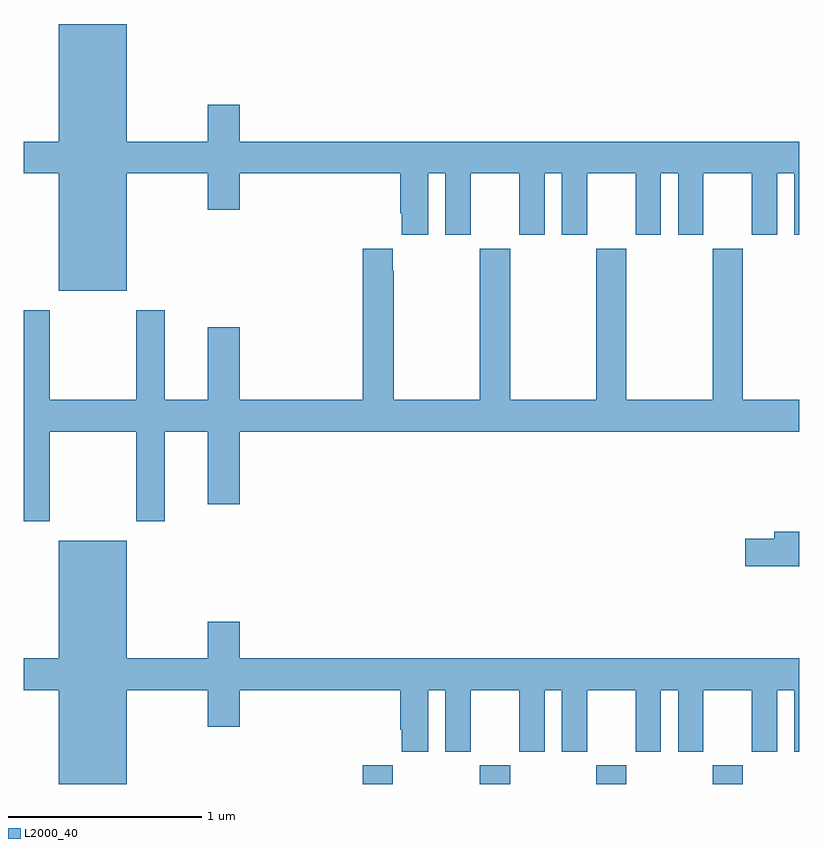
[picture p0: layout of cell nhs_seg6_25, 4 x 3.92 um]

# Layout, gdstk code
import gdstk
lib = gdstk.Library(unit=1e-6, precision=1e-09)
def R(c, l, rs):  # rectangles x0, y0, x1, y1
    for r in rs: c.add(gdstk.rectangle(r[:2], r[2:], *l))
def A(c, l, x, y, w, h, nx, ny, dx, dy):  # array of equal rectangles
    R(c, l, [(x+i*dx, y+j*dy, x+i*dx+w, y+j*dy+h) for i in range(nx) for j in range(ny)])
def P(c, l, *ps):  # polygons
    for p in ps: c.add(gdstk.Polygon(p, *l))
L2000_40 = (2000, 40)

nhs_seg6_25 = lib.new_cell('nhs_seg6_25')
A(nhs_seg6_25, L2000_40, 113.353, 965.5, 0.155, 0.096, 3, 1, 0.6, 0)
R(nhs_seg6_25, L2000_40, [(112.748,965.5,112.903,965.596)])
P(nhs_seg6_25, L2000_40, [(111.532,968.648),(111.95,968.648),(111.95,968.46),(112.114,968.46),(112.114,968.648),(112.943,968.648),(112.943,968.443),(112.949,968.443),(112.949,968.331),(113.086,968.331),(113.086,968.648),(113.174,968.648),(113.174,968.331),(113.305,968.331),(113.305,968.648),(113.555,968.648),(113.555,968.331),(113.686,968.331),(113.686,968.648),(113.774,968.648),(113.774,968.331),(113.905,968.331),(113.905,968.648),(114.155,968.648),(114.155,968.331),(114.286,968.331),(114.286,968.648),(114.374,968.648),(114.374,968.331),(114.505,968.331),(114.505,968.648),(114.755,968.648),(114.755,968.331),(114.886,968.331),(114.886,968.648),(114.974,968.648),(114.974,968.331),(115,968.331),(115,968.812),(112.114,968.812),(112.114,969.001),(111.95,969.001),(111.95,968.812),(111.532,968.812),(111.532,969.418),(111.182,969.418),(111.182,968.812),(111,968.812),(111,968.648),(111.182,968.648),(111.182,968.042),(111.532,968.042)],
  [(111.135,967.316),(111.58,967.316),(111.58,966.855),(111.727,966.855),(111.727,967.316),(111.95,967.316),(111.95,966.942),(112.114,966.942),(112.114,967.316),(115,967.316),(115,967.48),(114.708,967.48),(114.708,968.26),(114.553,968.26),(114.553,967.48),(114.108,967.48),(114.108,968.26),(113.953,968.26),(113.953,967.48),(113.508,967.48),(113.508,968.26),(113.353,968.26),(113.353,967.48),(112.908,967.48),(112.908,968.147),(112.903,968.147),(112.903,968.26),(112.748,968.26),(112.748,967.48),(112.114,967.48),(112.114,967.855),(111.95,967.855),(111.95,967.48),(111.727,967.48),(111.727,967.942),(111.58,967.942),(111.58,967.48),(111.135,967.48),(111.135,967.942),(111,967.942),(111,966.855),(111.135,966.855)],
  [(115,966.8),(114.869,966.8),(114.869,966.764),(114.72,966.764),(114.72,966.622),(115,966.622)],
  [(111.532,965.984),(111.95,965.984),(111.95,965.796),(112.114,965.796),(112.114,965.984),(112.943,965.984),(112.943,965.779),(112.949,965.779),(112.949,965.667),(113.086,965.667),(113.086,965.984),(113.174,965.984),(113.174,965.667),(113.305,965.667),(113.305,965.984),(113.555,965.984),(113.555,965.667),(113.686,965.667),(113.686,965.984),(113.774,965.984),(113.774,965.667),(113.905,965.667),(113.905,965.984),(114.155,965.984),(114.155,965.667),(114.286,965.667),(114.286,965.984),(114.374,965.984),(114.374,965.667),(114.505,965.667),(114.505,965.984),(114.755,965.984),(114.755,965.667),(114.886,965.667),(114.886,965.984),(114.974,965.984),(114.974,965.667),(115,965.667),(115,966.148),(112.114,966.148),(112.114,966.337),(111.95,966.337),(111.95,966.148),(111.532,966.148),(111.532,966.754),(111.182,966.754),(111.182,966.148),(111,966.148),(111,965.984),(111.182,965.984),(111.182,965.5),(111.532,965.5)])

lib.write_gds('nhs_seg6_25.gds')
